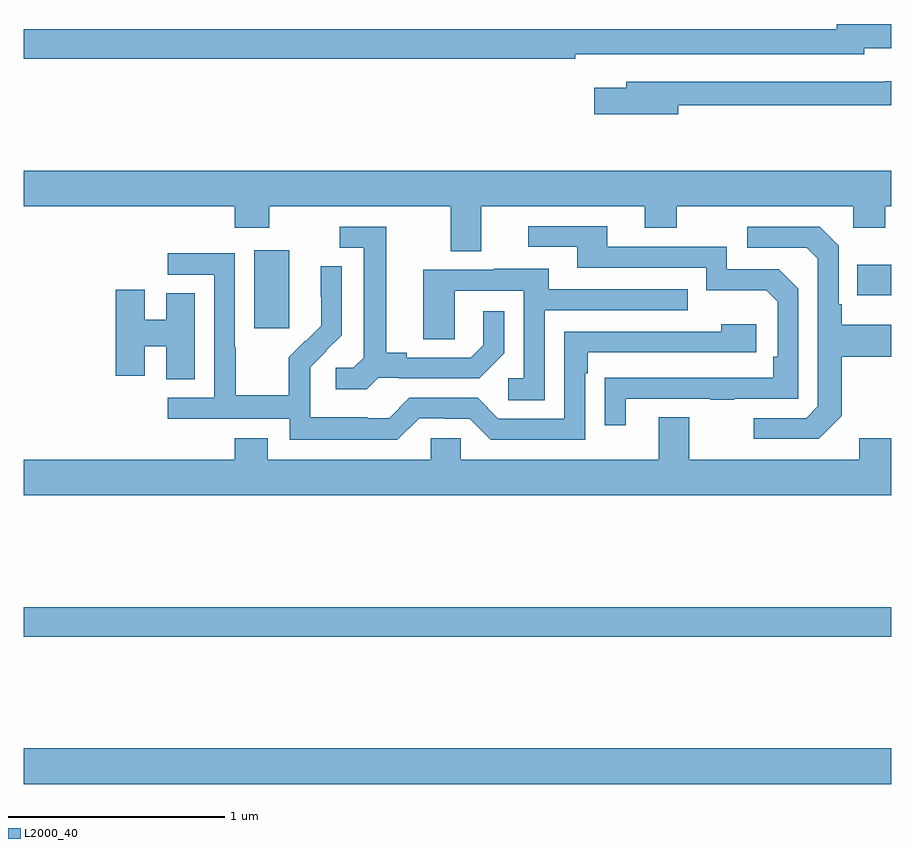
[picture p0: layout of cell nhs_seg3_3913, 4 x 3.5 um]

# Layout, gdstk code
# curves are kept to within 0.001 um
import gdstk
lib = gdstk.Library(unit=1e-6, precision=1e-09)
def R(c, l, rs):  # rectangles x0, y0, x1, y1
    for r in rs: c.add(gdstk.rectangle(r[:2], r[2:], *l))
def P(c, l, *ps):  # polygons
    for p in ps: c.add(gdstk.Polygon(p, *l))
L2000_40 = (2000, 40)

nhs_seg3_3913 = lib.new_cell('nhs_seg3_3913')
R(nhs_seg3_3913, L2000_40, [(313,720.896,317,721.06), (313,721.576,317,721.712), (314.063,722.997,314.224,723.358), (316.843,723.149,317,723.289)])
P(nhs_seg3_3913, L2000_40, [(315.542,724.26),(316.876,724.26),(316.876,724.289),(317,724.289),(317,724.4),(316.748,724.4),(316.748,724.376),(313,724.376),(313,724.24),(315.542,724.24)],
  [(316.018,724.026),(317,724.026),(317,724.135),(316.972,724.135),(316.972,724.134),(315.779,724.134),(315.779,724.105),(315.63,724.105),(315.63,723.983),(316.018,723.983)],
  [(315.109,723.56),(315.863,723.56),(315.863,723.461),(316.011,723.461),(316.011,723.56),(316.824,723.56),(316.824,723.461),(316.971,723.461),(316.971,723.56),(317,723.56),(317,723.724),(313,723.724),(313,723.56),(313.973,723.56),(313.973,723.461),(314.133,723.461),(314.133,723.56),(314.969,723.56),(314.969,723.352),(315.109,723.352)],
  [(315.775,722.673),(316.165,722.673),(316.165,722.668),(316.277,722.668),(316.277,722.673),(316.572,722.673),(316.572,723.18),(316.482,723.27),(316.242,723.27),(316.242,723.372),(315.691,723.372),(315.691,723.468),(315.327,723.468),(315.327,723.372),(315.551,723.372),(315.551,723.276),(316.146,723.276),(316.146,723.173),(316.423,723.173),(316.476,723.12),(316.476,722.866),(316.456,722.866),(316.456,722.769),(315.679,722.768),(315.679,722.55),(315.775,722.55)],
  [(316.771,722.593),(316.771,722.866),(317,722.866),(317,723.013),(316.771,723.013),(316.771,723.109),(316.758,723.109),(316.758,723.378),(316.671,723.465),(316.335,723.465),(316.335,723.369),(316.611,723.369),(316.662,723.318),(316.662,722.637),(316.608,722.583),(316.365,722.583),(316.365,722.487),(316.665,722.487)],
  [(314.634,722.769),(314.728,722.769),(314.728,722.766),(315.1,722.766),(315.216,722.882),(315.216,723.076),(315.119,723.076),(315.119,722.919),(315.062,722.862),(314.767,722.862),(314.767,722.885),(314.671,722.885),(314.671,723.465),(314.457,723.465),(314.457,723.369),(314.567,723.369),(314.567,722.861),(314.52,722.814),(314.439,722.814),(314.439,722.717),(314.582,722.717)],
  [(314.823,722.583),(314.939,722.583),(314.939,722.58),(315.057,722.58),(315.153,722.484),(315.588,722.484),(315.588,722.789),(315.601,722.789),(315.601,722.886),(316.378,722.886),(316.378,723.016),(316.217,723.016),(316.217,722.982),(315.492,722.982),(315.492,722.58),(315.189,722.58),(315.093,722.676),(314.778,722.676),(314.685,722.583),(314.585,722.583),(314.585,722.587),(314.322,722.587),(314.322,722.721),(314.32,722.721),(314.32,722.818),(314.466,722.966),(314.466,723.284),(314.369,723.284),(314.369,723.143),(314.372,723.143),(314.372,723.008),(314.301,722.937),(314.298,722.94),(314.221,722.863),(314.221,722.689),(313.977,722.689),(313.977,722.909),(313.974,722.909),(313.974,723.342),(313.665,723.342),(313.665,723.243),(313.878,723.243),(313.878,722.676),(313.665,722.676),(313.665,722.58),(314.226,722.58),(314.226,722.483),(314.723,722.483)],
  [(315.402,723.081),(316.061,723.081),(316.061,723.177),(315.421,723.177),(315.421,723.271),(315.167,723.271),(315.167,723.267),(314.843,723.267),(314.843,722.947),(314.988,722.947),(314.988,723.171),(315.306,723.171),(315.306,722.766),(315.234,722.766),(315.234,722.665),(315.402,722.665)],
  [(313.789,723.158),(313.658,723.158),(313.658,723.037),(313.558,723.037),(313.558,723.175),(313.424,723.175),(313.424,722.778),(313.558,722.778),(313.558,722.915),(313.658,722.915),(313.658,722.761),(313.789,722.761)],
  [(317,722.491),(316.853,722.491),(316.853,722.392),(316.069,722.392),(316.069,722.587),(315.929,722.587),(315.929,722.392),(315.015,722.392),(315.015,722.49),(314.877,722.49),(314.877,722.392),(314.125,722.392),(314.125,722.491),(313.973,722.491),(313.973,722.392),(313,722.392),(313,722.228),(317,722.228)])

lib.write_gds('nhs_seg3_3913.gds')
